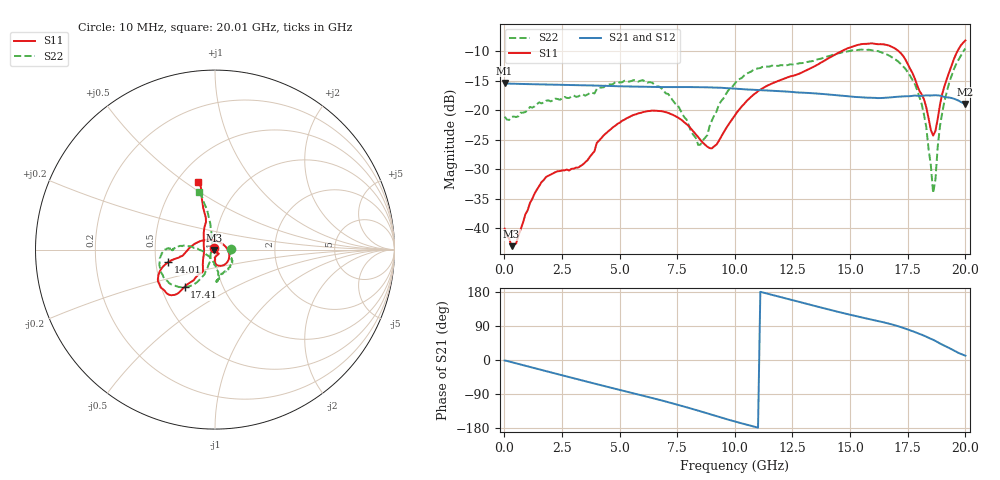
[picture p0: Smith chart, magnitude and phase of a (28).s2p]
! Hittite Microwave Corporation
! 2 Elizabeth Drive
! Chelmsford, MA 01824
! http://www.hittite.com
! Tel: 978-250-3343
! Fax: 978-250-3373
! Device:  HMC424LP3
! Description: 0.5 dB GaAs MMIC 6-Bit Digital Attenuator
! Frequency:  DC -  13.00 GHz
! Package:  LP3  - 3x3 mm Quad Flatpack No-Lead (QFN) Plastic Package: 16 pin
! Ports:  2 RF, 7 DC
!  Pad  1  = Ground
!  Pad  2  = RF IN  = Port 1
!  Pad  3  = Ground
!  Pad  4  = V6
!  Pad  5  = V5
!  Pad  6  = V4
!  Pad  7  = V3
!  Pad  8  = V2
!  Pad  9  = V1
!  Pad 10  = Ground
!  Pad 11  = RF OUT  = Port 2
!  Pad 12  = Ground
!  Pad 15  = VEE
! Control:  -5 Volt control voltage
! State:  26
! Attenuation:  13.0 dB
! Voltages:  Vdd = -5.00 Volts  Idd =  -2.555 mA
!  V1  = 0.00 Volts  I1  =  29.0 uA
!  V2  = -5.00 Volts  I2  =  -1.0 uA
!  V3  = 0.00 Volts  I3  =  30.0 uA
!  V4  = -5.00 Volts  I4  =  -1.0 uA
!  V5  = -5.00 Volts  I5  =  -1.0 uA
!  V6  = 0.00 Volts  I6  =  30.0 uA
! Data:  The device was measured on evaluation board 105354-1.
!  Data was collected using a calibrated network analyzer.
!  The evaluation circuit board was modeled and simulated.  This was use
!  to removed the evaluation board circuit from the measured data.
!  The reference plane is the edge of the package pin.
! Misc:  Lot xxxx, Unit 1
!  Application 20120001, Data collected in Application 20090083
! Date Measured:  2009-09-15
! Date:  2012-05-14  MJV
! Note:
!  Hittite supplies this data as a sample of measured data at the package pin
!  for this product.  Your particular data for this product may vary.
!  Data was taken at 25 degrees C.
!  Hittite reserves the right to change this data at anytime.
# GHz S MA R 50
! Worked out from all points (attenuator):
!   201 points, 10 MHz to 20.01 GHz, reference 50 ohm
!   highest |S21| = -15.41 dB at 10 MHz (marker M1); lowest = -18.9 dB at 20.01 GHz (marker M2)
!   lowest |S11| = -43.0 dB at 310 MHz (marker M3), VSWR 1.01, Z = 49.4 - j0.318 ohm
!   |S11| at or under -10 dB: start of sweep to 14.63 GHz; 17.12 GHz to 19.67 GHz (2.551 GHz wide, 13.9 % of centre)
!   |S22| runs from -34.0 to -9.5 dB; largest |S21 - S12| = 0.0012
!   S11 on the Smith chart (normalised r, x): 10 MHz: 0.99, +0.01; 14.01 GHz: 0.58, -0.09; 17.41 GHz: 0.66, -0.29; 20.01 GHz: 0.63, +0.57
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0.01  0.009907 134.8  0.1697 -1.3  0.1686 -1.2  0.08814 3.3
0.31  0.00705 -152.8  0.1678 -5.6  0.1675 -5.6  0.08779 -9.4
1.61  0.02461 -52.1  0.1655 -26.4  0.1652 -26.3  0.1142 -33.0
3.41  0.03473 -75.5  0.1629 -54.4  0.1626 -54.4  0.1361 -63.4
4.91  0.07653 -88.9  0.1597 -77.5  0.1594 -77.5  0.1729 -84.4
6.71  0.09843 -50.7  0.1572 -104.9  0.1568 -104.9  0.1589 -83.9
7.51  0.08725 -23.9  0.1571 -117.9  0.1569 -117.9  0.1115 -85.4
8.41  0.05928 19.2  0.1567 -133.5  0.1564 -133.6  0.05091 -123.4
9.01  0.04751 73.7  0.156 -144.6  0.1557 -144.6  0.08203 -177.5
10.01  0.09062 147.4  0.1524 -162.3  0.152 -162.4  0.1691 172.2
11.11  0.1493 179.6  0.1479 179.9  0.1476 179.9  0.2279 178.4
13.41  0.2326 -166.9  0.1391 143.6  0.1388 143.7  0.2617 178.5
14.01  0.2716 -165.0  0.1363 134.3  0.136 134.3  0.2847 -178.5
16.71  0.3521 -133.8  0.1281 95.7  0.1278 95.7  0.2897 -134.0
17.41  0.268 -129.2  0.1313 82.7  0.131 82.7  0.2236 -120.9
18.11  0.1364 -119.0  0.1323 66.9  0.132 66.9  0.1135 -112.2
18.31  0.1063 -129.6  0.1334 61.6  0.1332 61.6  0.07246 -112.6
18.61  0.06103 -178.4  0.1336 53.4  0.1334 53.4  0.01986 -174.5
18.71  0.06676 159.7  0.134 50.4  0.1338 50.4  0.02584 133.7
18.91  0.1123 124.2  0.133 43.4  0.1328 43.4  0.07388 106.1
19.11  0.1622 108.0  0.1294 37.4  0.1293 37.4  0.1216 101.4
20.01  0.3899 103.7  0.113 11.4  0.113 11.5  0.3336 105.5
